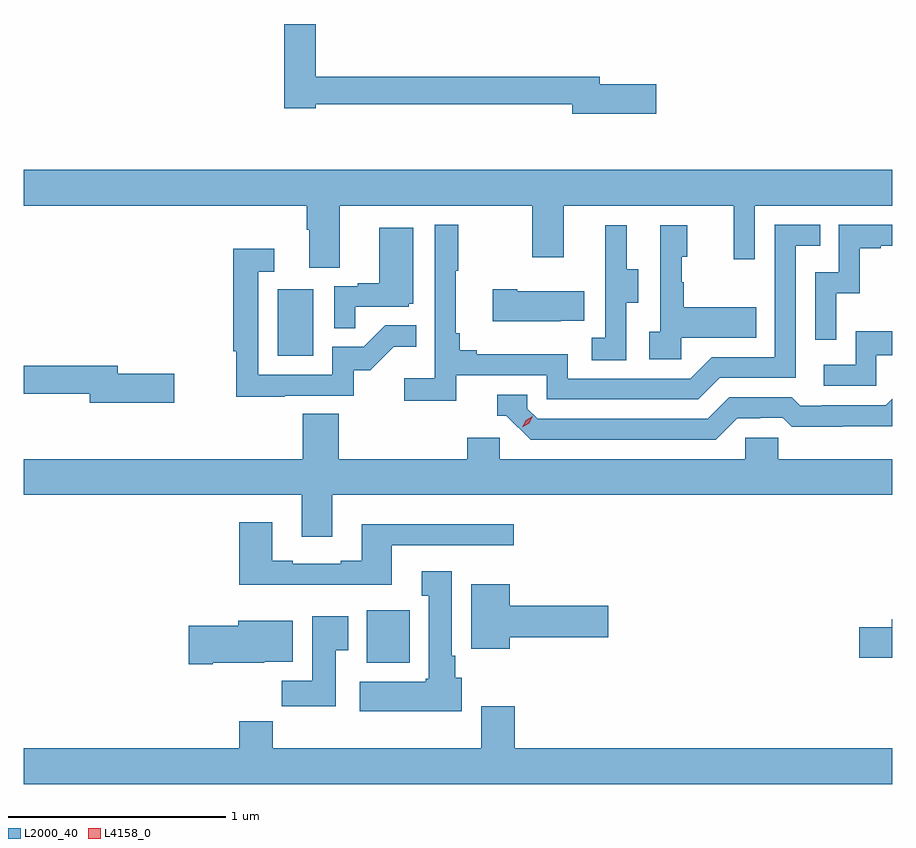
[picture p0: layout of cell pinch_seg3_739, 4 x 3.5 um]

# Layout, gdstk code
import gdstk
lib = gdstk.Library(unit=1e-6, precision=1e-09)
def R(c, l, rs):  # rectangles x0, y0, x1, y1
    for r in rs: c.add(gdstk.rectangle(r[:2], r[2:], *l))
def P(c, l, *ps):  # polygons
    for p in ps: c.add(gdstk.Polygon(p, *l))
L2000_40 = (2000, 40)
L4158_0 = (4158, 0)

pinch_seg3_739 = lib.new_cell('pinch_seg3_739')
R(pinch_seg3_739, L2000_40, [(876.353,737.438,876.55,737.68), (875.942,738.852,876.106,739.159)])
P(pinch_seg3_739, L2000_40, [(877.687,740.102),(877.426,740.102),(877.426,740.138),(876.119,740.138),(876.119,740.38),(875.972,740.38),(875.972,739.991),(876.119,739.991),(876.119,740.01),(877.298,740.01),(877.298,739.967),(877.687,739.967)],
  [(876.229,739.544),(877.114,739.544),(877.114,739.305),(877.261,739.305),(877.261,739.544),(878.042,739.544),(878.042,739.296),(878.139,739.296),(878.139,739.544),(878.773,739.544),(878.773,739.708),(874.773,739.708),(874.773,739.544),(876.077,739.544),(876.077,739.432),(876.089,739.432),(876.089,739.258),(876.229,739.258)],
  [(876.764,738.762),(877.182,738.762),(877.182,738.651),(877.879,738.651),(877.978,738.75),(878.328,738.75),(878.328,739.359),(878.441,739.359),(878.441,739.455),(878.232,739.455),(878.232,738.846),(877.941,738.846),(877.842,738.747),(877.278,738.747),(877.278,738.859),(876.859,738.859),(876.859,738.878),(876.782,738.878),(876.782,738.955),(876.763,738.955),(876.763,739.243),(876.775,739.243),(876.775,739.456),(876.666,739.456),(876.666,738.748),(876.525,738.748),(876.525,738.646),(876.764,738.646)],
  [(878.514,739.139),(878.624,739.139),(878.624,739.347),(878.719,739.347),(878.719,739.359),(878.773,739.359),(878.773,739.455),(878.526,739.455),(878.526,739.236),(878.418,739.236),(878.418,738.927),(878.514,738.927)],
  [(877.548,739.096),(877.603,739.096),(877.603,739.251),(877.549,739.251),(877.549,739.453),(877.451,739.453),(877.451,739.239),(877.452,739.239),(877.452,738.935),(877.389,738.935),(877.389,738.832),(877.548,738.832)],
  [(877.8,738.935),(878.147,738.935),(878.147,739.075),(877.813,739.075),(877.813,739.19),(877.803,739.19),(877.803,739.308),(877.828,739.308),(877.828,739.453),(877.704,739.453),(877.704,738.962),(877.653,738.962),(877.653,738.837),(877.8,738.837)],
  [(876.299,739.077),(876.546,739.077),(876.546,739.092),(876.568,739.092),(876.568,739.441),(876.41,739.441),(876.41,739.186),(876.311,739.186),(876.311,739.173),(876.204,739.173),(876.204,738.979),(876.299,738.979)],
  [(875.975,738.669),(876.294,738.669),(876.294,738.786),(876.37,738.786),(876.477,738.893),(876.581,738.893),(876.581,738.992),(876.437,738.992),(876.339,738.894),(876.195,738.894),(876.195,738.765),(875.853,738.765),(875.853,739.239),(875.926,739.239),(875.926,739.345),(875.737,739.345),(875.737,738.872),(875.752,738.872),(875.752,738.664),(875.975,738.664)],
  [(877.247,739.013),(877.355,739.013),(877.355,739.15),(877.045,739.15),(877.045,739.158),(876.933,739.158),(876.933,739.01),(877.247,739.01)],
  [(878.7,738.855),(878.773,738.855),(878.773,738.964),(878.604,738.964),(878.604,738.81),(878.457,738.81),(878.457,738.714),(878.7,738.714)],
  [(875.467,738.77),(875.206,738.77),(875.206,738.806),(874.773,738.806),(874.773,738.678),(875.078,738.678),(875.078,738.635),(875.467,738.635)],
  [(878.059,738.564),(878.166,738.564),(878.166,738.567),(878.269,738.567),(878.311,738.525),(878.544,738.525),(878.544,738.527),(878.773,738.527),(878.773,738.655),(878.742,738.624),(878.449,738.624),(878.449,738.621),(878.35,738.621),(878.311,738.66),(878.022,738.66),(877.923,738.561),(877.14,738.561),(877.092,738.609),(877.092,738.672),(876.953,738.672),(876.953,738.576),(876.996,738.576),(877.107,738.465),(877.96,738.465)],
  [(876.193,738.212),(878.773,738.212),(878.773,738.376),(878.247,738.376),(878.247,738.474),(878.097,738.474),(878.097,738.376),(876.966,738.376),(876.966,738.474),(876.815,738.474),(876.815,738.376),(876.224,738.376),(876.224,738.584),(876.059,738.584),(876.059,738.376),(874.773,738.376),(874.773,738.212),(876.053,738.212),(876.053,738.018),(876.193,738.018)],
  [(876.469,737.979),(877.03,737.979),(877.03,738.076),(876.329,738.076),(876.329,737.908),(876.233,737.908),(876.233,737.895),(876.013,737.895),(876.013,737.908),(875.917,737.908),(875.917,738.085),(875.765,738.085),(875.765,737.798),(876.469,737.798)],
  [(876.79,737.37),(876.76,737.37),(876.76,737.47),(876.745,737.47),(876.745,737.86),(876.605,737.86),(876.605,737.747),(876.638,737.747),(876.638,737.364),(876.625,737.364),(876.625,737.35),(876.321,737.35),(876.321,737.216),(876.79,737.216)],
  [(877.012,737.555),(877.465,737.555),(877.465,737.702),(877.012,737.702),(877.012,737.8),(876.833,737.8),(876.833,737.504),(877.012,737.504)],
  [(876.211,737.497),(876.268,737.497),(876.268,737.653),(876.101,737.653),(876.101,737.356),(875.962,737.356),(875.962,737.238),(876.211,737.238)],
  [(878.773,737.639),(878.771,737.639),(878.771,737.603),(878.622,737.603),(878.622,737.461),(878.773,737.461)],
  [(875.644,737.438),(875.88,737.438),(875.88,737.444),(876.013,737.444),(876.013,737.632),(875.762,737.632),(875.762,737.609),(875.532,737.609),(875.532,737.431),(875.644,737.431)],
  [(878.773,737.044),(877.034,737.044),(877.034,737.239),(876.881,737.239),(876.881,737.044),(875.921,737.044),(875.921,737.168),(875.765,737.168),(875.765,737.044),(874.773,737.044),(874.773,736.88),(878.773,736.88)])
P(pinch_seg3_739, L4158_0, [(877.069,738.522),(877.069,738.523),(877.086,738.555),(877.117,738.574),(877.117,738.574),(877.117,738.574),(877.1,738.542),(877.07,738.522)])

lib.write_gds('pinch_seg3_739.gds')
